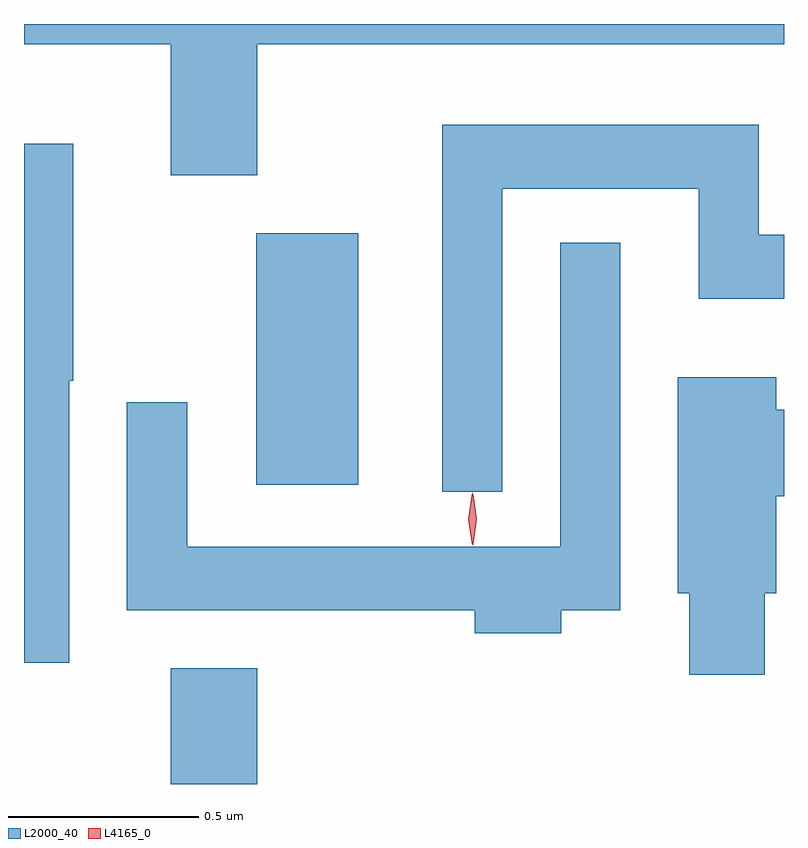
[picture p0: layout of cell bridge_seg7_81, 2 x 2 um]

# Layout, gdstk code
import gdstk
lib = gdstk.Library(unit=1e-6, precision=1e-09)
def R(c, l, rs):  # rectangles x0, y0, x1, y1
    for r in rs: c.add(gdstk.rectangle(r[:2], r[2:], *l))
def P(c, l, *ps):  # polygons
    for p in ps: c.add(gdstk.Polygon(p, *l))
L2000_40 = (2000, 40)
L4165_0 = (4165, 0)

bridge_seg7_81 = lib.new_cell('bridge_seg7_81')
R(bridge_seg7_81, L2000_40, [(1496.721,1756.769,1496.949,1757.074), (1496.946,1757.556,1497.214,1758.219)])
P(bridge_seg7_81, L2000_40, [(1496.949,1758.716),(1498.335,1758.716),(1498.335,1758.769),(1496.335,1758.769),(1496.335,1758.716),(1496.721,1758.716),(1496.721,1758.371),(1496.949,1758.371)],
  [(1497.594,1758.336),(1498.111,1758.336),(1498.111,1758.046),(1498.335,1758.046),(1498.335,1758.214),(1498.269,1758.214),(1498.269,1758.504),(1497.436,1758.504),(1497.436,1757.538),(1497.594,1757.538)],
  [(1496.454,1757.83),(1496.464,1757.83),(1496.464,1758.454),(1496.335,1758.454),(1496.335,1757.088),(1496.454,1757.088)],
  [(1497.749,1757.226),(1497.904,1757.226),(1497.904,1758.193),(1497.746,1758.193),(1497.746,1757.394),(1496.764,1757.394),(1496.764,1757.773),(1496.606,1757.773),(1496.606,1757.226),(1497.521,1757.226),(1497.521,1757.166),(1497.749,1757.166)],
  [(1498.284,1757.271),(1498.314,1757.271),(1498.314,1757.526),(1498.335,1757.526),(1498.335,1757.754),(1498.314,1757.754),(1498.314,1757.839),(1498.056,1757.839),(1498.056,1757.271),(1498.086,1757.271),(1498.086,1757.056),(1498.284,1757.056)])
P(bridge_seg7_81, L4165_0, [(1497.517,1757.399),(1497.516,1757.4),(1497.506,1757.466),(1497.516,1757.532),(1497.516,1757.533),(1497.517,1757.532),(1497.526,1757.466),(1497.517,1757.4)],
  [(1497.514,1757.397),(1497.514,1757.397),(1497.504,1757.466),(1497.514,1757.536),(1497.514,1757.536),(1497.515,1757.536),(1497.524,1757.466),(1497.515,1757.397)])

lib.write_gds('bridge_seg7_81.gds')
